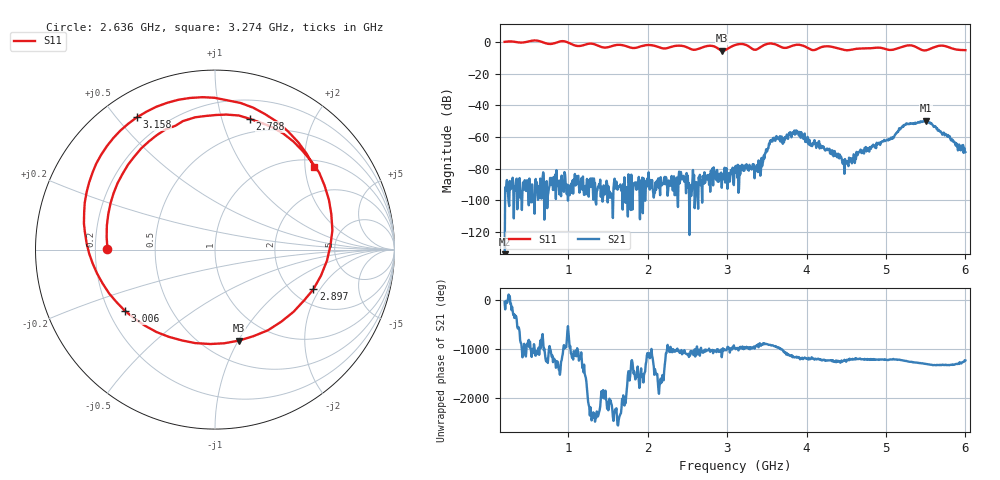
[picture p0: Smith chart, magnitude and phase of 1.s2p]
! NanoVNA-App by OneOfEleven et al v1.1.209 (+OD15)
! Date: 2024-07-30 15:17:36
! Start: 200MHz Stop: 6GHz Points: 801
! S-Parameter data: F S11 S21 S12 S22
# Hz S RI R 50
!  Frequency  S11_Real  S11_Imag  S21_Real  S21_Imag  S12_Real  S12_Imag  S22_Real  S22_Imag
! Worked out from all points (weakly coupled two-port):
!   801 points, 200 MHz to 6 GHz, reference 50 ohm
!   highest |S21| = -49.85 dB at 5.5 GHz (marker M1); lowest = -143.3 dB at 200 MHz (marker M2)
!   lowest |S11| = -5.6 dB at 2.941 GHz (marker M3), VSWR 3.20, Z = 36 - j50.3 ohm
!   |S11| at or under -10 dB: nowhere
!   S12 and S22 are empty: the file has one direction only
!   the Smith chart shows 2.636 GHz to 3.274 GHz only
!   S11 on the Smith chart (normalised r, x): 2.636 GHz: 0.25, +0.00; 2.788 GHz: 0.37, +1.23; 2.897 GHz: 2.57, -1.75; 3.006 GHz: 0.27, -0.29; 3.158 GHz: 0.10, +0.57; 3.274 GHz: 1.19, +2.24
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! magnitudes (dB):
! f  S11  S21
! 200 MHz  0.0  -143.3
! 1.171 GHz  -2.3  -89.9
! 2.136 GHz  -3.2  -86.2
! 2.636 GHz  -4.4  -105.4
! 2.788 GHz  -2.5  -94.7
! 2.897 GHz  -4.6  -88.2
! 2.941 GHz  -5.6  -83.9
! 3.006 GHz  -4.3  -92.8
! 3.1 GHz  -2.0  -82.6
! 3.158 GHz  -1.3  -78.4
! 3.274 GHz  -2.9  -81.4
! 3.419 GHz  -3.4  -84.5
! 3.557 GHz  -1.0  -62.0
! 3.607 GHz  -1.5  -62.5
! 3.869 GHz  -1.8  -55.9
! 4.072 GHz  -5.1  -65.9
! 4.499 GHz  -5.2  -76.3
! 5.036 GHz  -5.0  -61.4
! 5.239 GHz  -2.6  -52.4
! 5.5 GHz  -5.4  -49.9
! 5.696 GHz  -2.3  -57.3
! 6 GHz  -5.2  -69.6
